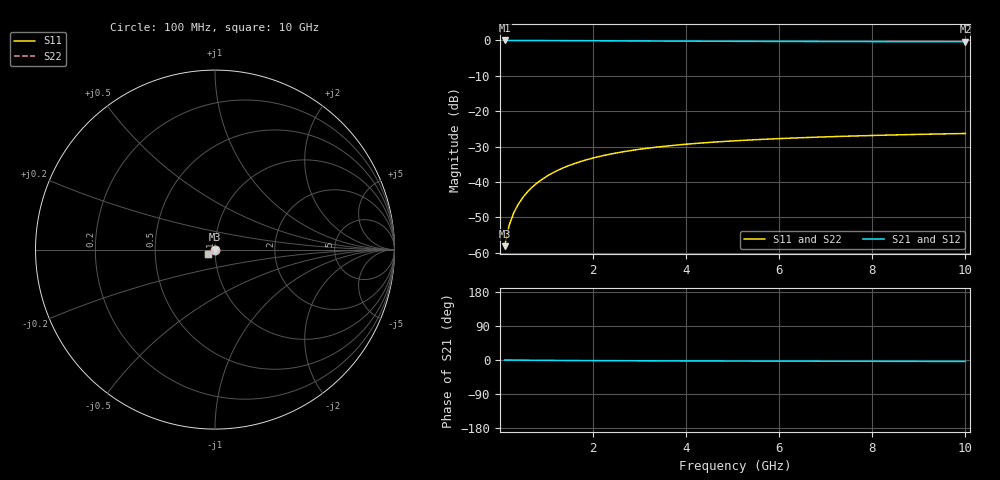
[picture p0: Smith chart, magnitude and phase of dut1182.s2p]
! Touchstone file exported from HFSS 2024.1.0
!  File:  C:/UserFiles/LocalFiles/RDL_TSV_Batchsim/temp_TSV1_1182_1780074908.aedt
!  Generated:  01:19:10 AM May 30, 2026
!  Design:  TSV1
!  Project:  temp_TSV1_1182_1780074908
!  Setup:  Setup1
!  Solution:  Sweep
! Variables:
!  dtsv = 13.89um
!  hbump = 3um
!  htsv = 54.19um
!  lrdl = 252.1521522um
!  p = 40
!  p1 = 40.98um
!  t = 500um
!  trdl = 3um
!  wrdl = 24.89489489um
# GHz S MA R 50.000000
! Terminal data exported
! Port[1] = TSV22_T1
! Port[2] = TSV22_T2
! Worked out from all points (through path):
!   100 points, 100 MHz to 10 GHz, reference 50 ohm
!   highest |S21| = 0.00 dB at 100 MHz (marker M1); lowest = -0.4 dB at 10 GHz (marker M2)
!   lowest |S11| = -58.2 dB at 100 MHz (marker M3), VSWR 1.00, Z = 50 - j0.123 ohm
!   |S11| at or under -10 dB: start of sweep to end of sweep
!   |S22| runs from -58.2 to -26.3 dB; largest |S21 - S12| = 2e-15
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0.1  0.001232 -88.1  0.9999 -0.1  0.9999 -0.1  0.001232 -88.1
! Gamma 0 0 0 0
! Port Impedance 50 0 50 0
0.2  0.002462 -91.3  0.9998 -0.2  0.9998 -0.2  0.002462 -91.3
0.3  0.003689 -93.4  0.9996 -0.3  0.9996 -0.3  0.003689 -93.4
0.4  0.004912 -95.1  0.9994 -0.4  0.9994 -0.4  0.004912 -95.1
0.5  0.006125 -96.7  0.9991 -0.5  0.9991 -0.5  0.006125 -96.7
0.6  0.007325 -98.2  0.9988 -0.6  0.9988 -0.6  0.007325 -98.2
0.7  0.008509 -99.6  0.9984 -0.7  0.9984 -0.7  0.008509 -99.6
0.8  0.009675 -101.0  0.998 -0.7  0.998 -0.7  0.009675 -101.0
0.9  0.01082 -102.4  0.9975 -0.8  0.9975 -0.8  0.01082 -102.4
1.1  0.01304 -105.1  0.9964 -1.0  0.9964 -1.0  0.01304 -105.1
1.4  0.01619 -108.8  0.9945 -1.2  0.9945 -1.2  0.01619 -108.8
1.6  0.01815 -111.2  0.9932 -1.4  0.9932 -1.4  0.01815 -111.2
1.8  0.02 -113.4  0.9918 -1.5  0.9918 -1.5  0.02 -113.4
2.1  0.02257 -116.5  0.9897 -1.7  0.9897 -1.7  0.02257 -116.5
2.5  0.02562 -120.3  0.9869 -1.9  0.9869 -1.9  0.02562 -120.3
2.9  0.02829 -123.6  0.9842 -2.0  0.9842 -2.0  0.02829 -123.6
3.4  0.03117 -127.2  0.9811 -2.2  0.9811 -2.2  0.03117 -127.2
4.2  0.03493 -131.9  0.9766 -2.5  0.9766 -2.5  0.03493 -131.9
5.1  0.03825 -136.1  0.9724 -2.7  0.9724 -2.7  0.03825 -136.1
6.7  0.04265 -141.4  0.9666 -3.1  0.9666 -3.1  0.04265 -141.4
8.4  0.046 -145.4  0.9621 -3.5  0.9621 -3.5  0.046 -145.4
10  0.04835 -148.2  0.9589 -3.8  0.9589 -3.8  0.04835 -148.2
